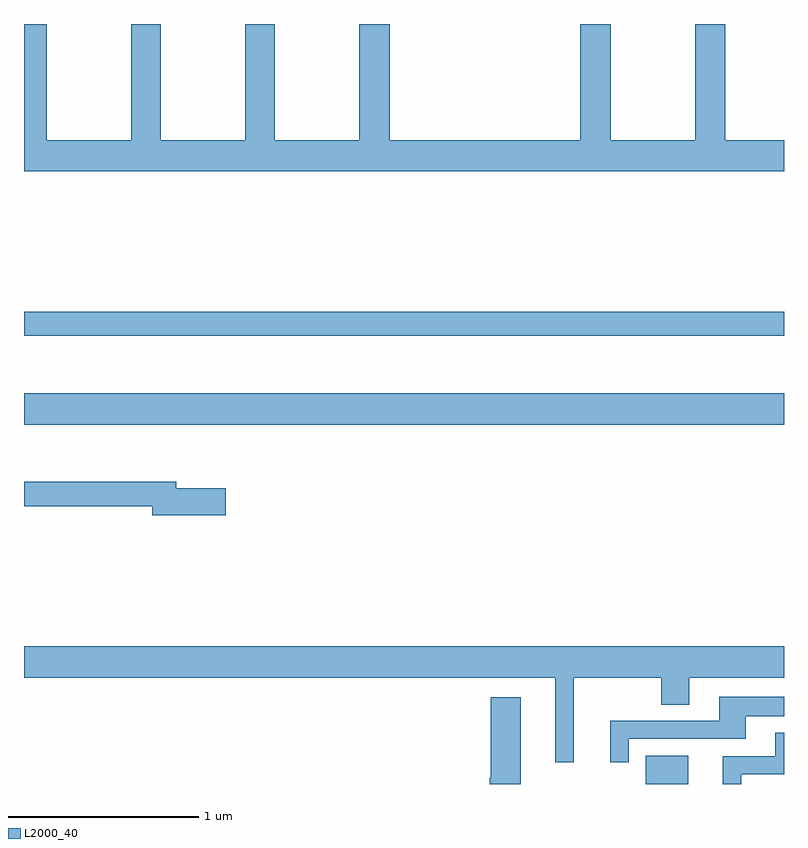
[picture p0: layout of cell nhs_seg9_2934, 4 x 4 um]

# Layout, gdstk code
import gdstk
lib = gdstk.Library(unit=1e-6, precision=1e-09)
def R(c, l, rs):  # rectangles x0, y0, x1, y1
    for r in rs: c.add(gdstk.rectangle(r[:2], r[2:], *l))
def P(c, l, *ps):  # polygons
    for p in ps: c.add(gdstk.Polygon(p, *l))
L2000_40 = (2000, 40)

nhs_seg9_2934 = lib.new_cell('nhs_seg9_2934')
R(nhs_seg9_2934, L2000_40, [(282.272,1222.5,282.496,1222.648), (279,1224.392,283,1224.556), (279,1224.858,283,1224.986)])
P(nhs_seg9_2934, L2000_40, [(283,1225.888),(282.692,1225.888),(282.692,1226.5),(282.532,1226.5),(282.532,1225.888),(282.087,1225.888),(282.087,1226.5),(281.927,1226.5),(281.927,1225.888),(280.925,1225.888),(280.925,1226.5),(280.765,1226.5),(280.765,1225.888),(280.32,1225.888),(280.32,1226.5),(280.165,1226.5),(280.165,1225.888),(279.72,1225.888),(279.72,1226.5),(279.565,1226.5),(279.565,1225.888),(279.12,1225.888),(279.12,1226.5),(279,1226.5),(279,1225.724),(283,1225.724)],
  [(280.063,1224.057),(279.802,1224.057),(279.802,1224.091),(279,1224.091),(279,1223.962),(279.674,1223.962),(279.674,1223.915),(280.063,1223.915)],
  [(281.894,1223.06),(282.355,1223.06),(282.355,1222.918),(282.502,1222.918),(282.502,1223.06),(283,1223.06),(283,1223.224),(279,1223.224),(279,1223.06),(281.795,1223.06),(281.795,1222.614),(281.894,1222.614)],
  [(282.183,1222.737),(282.799,1222.737),(282.799,1222.856),(283,1222.856),(283,1222.96),(282.659,1222.96),(282.659,1222.833),(282.086,1222.833),(282.086,1222.614),(282.183,1222.614)],
  [(281.614,1222.957),(281.456,1222.957),(281.456,1222.533),(281.45,1222.533),(281.45,1222.5),(281.614,1222.5)],
  [(282.774,1222.551),(283,1222.551),(283,1222.771),(282.953,1222.771),(282.953,1222.647),(282.677,1222.647),(282.677,1222.5),(282.774,1222.5)])

lib.write_gds('nhs_seg9_2934.gds')
